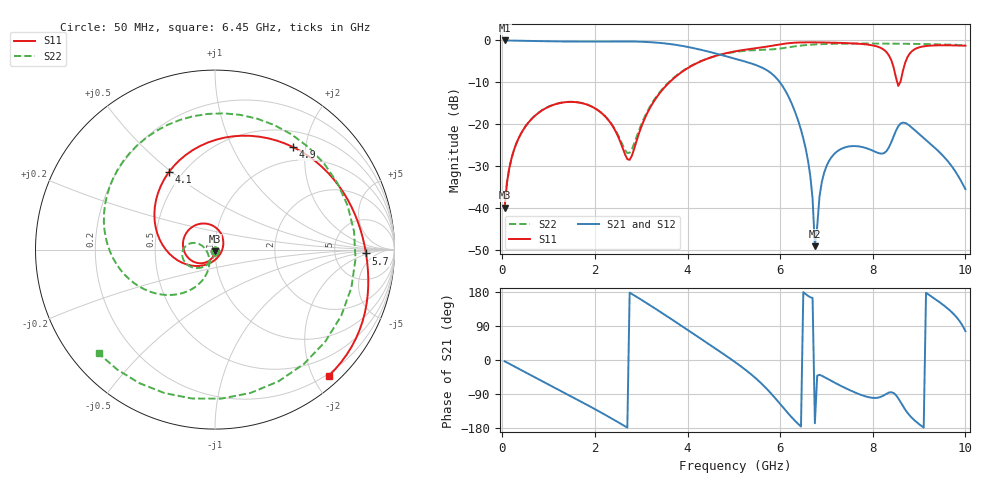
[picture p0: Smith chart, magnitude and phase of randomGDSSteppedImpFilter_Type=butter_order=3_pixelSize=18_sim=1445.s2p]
! freq	dB(S11)	phase(S11)	dB(S12)	phase(S12)
!  dB(S21)	phase(S21)	dB(S22)	phase(S22)
!S-par simulation data
#  GHz  S  DB  R 50
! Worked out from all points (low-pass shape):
!   200 points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, 50 MHz to 10 GHz, reference 50 ohm
!   highest |S21| = -0.01 dB at 50 MHz (marker M1); lowest = -49.0 dB at 6.75 GHz (marker M2)
!   |S21| within 3 dB of the highest: start of sweep to 4.571 GHz
!   lowest |S11| = -39.9 dB at 50 MHz (marker M3), VSWR 1.02, Z = 49.9 - j1.01 ohm
!   |S11| at or under -10 dB: start of sweep to 3.607 GHz; 8.53 GHz to 8.591 GHz (61.88 MHz wide, 0.723 % of centre)
!   |S22| runs from -39.9 to -0.7 dB; largest |S21 - S12| = 0
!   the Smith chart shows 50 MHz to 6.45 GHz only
!   S11 on the Smith chart (normalised r, x): 50 MHz: 1.00, -0.02; 4.1 GHz: 0.42, +0.49; 4.9 GHz: 0.75, +1.77; 5.7 GHz: 11, -2; 6.45 GHz: 0.16, -2.24
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0.05  -39.89 -92.5  -0.01 -3.3  -0.01 -3.3  -39.88 -91.5
0.55  -19.78 -132.5  -0.10 -35.8  -0.10 -35.8  -19.74 -119.7
1.75  -15.03 132.7  -0.28 -113.1  -0.28 -113.1  -15.01 -179.5
2.75  -28.46 -37.1  -0.25 177.8  -0.25 177.8  -26.77 -147.5
3.4  -12.55 -169.4  -0.59 128.0  -0.59 128.0  -12.34 -118.6
4.1  -5.99 121.0  -1.76 71.3  -1.76 71.3  -5.92 -161.0
4.9  -2.88 52.7  -3.98 5.4  -3.98 5.4  -2.98 136.2
5.05  -2.56 41.4  -4.44 -7.6  -4.44 -7.6  -2.72 121.5
5.7  -1.50 -1.4  -7.01 -74.8  -7.01 -74.8  -2.20 28.6
5.9  -1.13 -13.5  -8.76 -101.8  -8.76 -101.8  -2.06 -15.6
6.15  -0.71 -29.1  -12.75 -137.7  -12.75 -137.7  -1.69 -76.1
6.45  -0.47 -48.0  -21.31 -175.6  -21.31 -175.6  -1.22 -138.2
6.7  -0.45 -62.7  -37.69 163.6  -37.69 163.6  -0.99 -176.7
6.75  -0.46 -65.6  -49.05 -167.1  -49.05 -167.1  -0.96 176.8
6.9  -0.48 -74.1  -33.72 -41.6  -33.72 -41.6  -0.88 158.8
7.1  -0.52 -85.2  -27.96 -54.8  -27.96 -54.8  -0.82 137.7
7.85  -0.94 -131.5  -25.64 -96.2  -25.64 -96.2  -0.74 73.2
8.35  -3.58 163.7  -25.46 -85.8  -25.46 -85.8  -0.77 35.1
8.6  -9.83 -1.7  -19.83 -111.0  -19.83 -111.0  -0.81 17.0
8.9  -2.13 -112.8  -21.32 -159.1  -21.32 -159.1  -0.83 -4.4
9.4  -1.17 -167.0  -26.20 156.2  -26.20 156.2  -0.93 -38.9
10  -1.26 143.0  -35.44 76.3  -35.44 76.3  -1.12 -78.2
